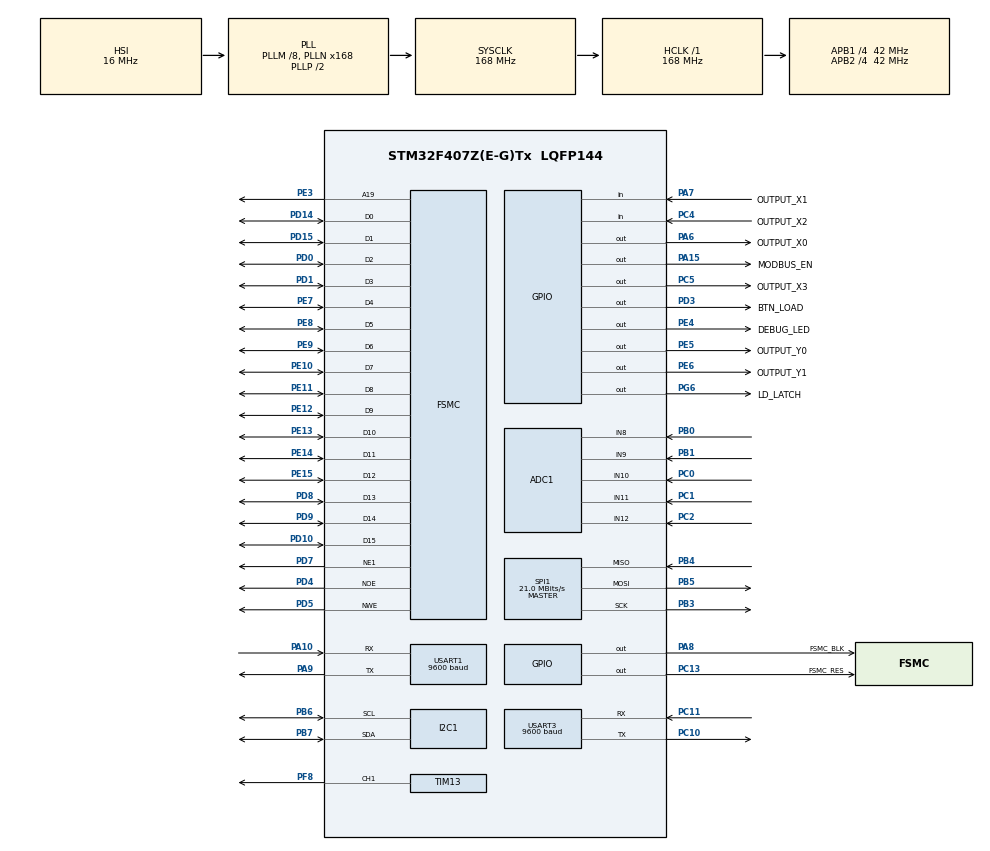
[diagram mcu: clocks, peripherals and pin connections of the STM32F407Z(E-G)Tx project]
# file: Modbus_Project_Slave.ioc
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ADC1.Channel-0\#ChannelRegularConversion=ADC_CHANNEL_8
ADC1.Channel-1\#ChannelRegularConversion=ADC_CHANNEL_9
ADC1.Channel-2\#ChannelRegularConversion=ADC_CHANNEL_10
ADC1.Channel-3\#ChannelRegularConversion=ADC_CHANNEL_11
ADC1.Channel-4\#ChannelRegularConversion=ADC_CHANNEL_12
ADC1.NbrOfConversion=5
ADC1.NbrOfConversionFlag=1
ADC1.Rank-0\#ChannelRegularConversion=1
ADC1.Rank-1\#ChannelRegularConversion=2
ADC1.Rank-2\#ChannelRegularConversion=3
ADC1.Rank-3\#ChannelRegularConversion=4
ADC1.Rank-4\#ChannelRegularConversion=5
ADC1.SamplingTime-0\#ChannelRegularConversion=ADC_SAMPLETIME_3CYCLES
ADC1.SamplingTime-1\#ChannelRegularConversion=ADC_SAMPLETIME_3CYCLES
ADC1.SamplingTime-2\#ChannelRegularConversion=ADC_SAMPLETIME_3CYCLES
ADC1.SamplingTime-3\#ChannelRegularConversion=ADC_SAMPLETIME_3CYCLES
ADC1.SamplingTime-4\#ChannelRegularConversion=ADC_SAMPLETIME_3CYCLES
ADC1.ScanConvMode=ENABLE
ADC1.master=1
Dma.ADC1.0.Direction=DMA_PERIPH_TO_MEMORY
Dma.ADC1.0.FIFOMode=DMA_FIFOMODE_DISABLE
Dma.ADC1.0.Instance=DMA2_Stream0
Dma.ADC1.0.MemDataAlignment=DMA_MDATAALIGN_HALFWORD
Dma.ADC1.0.MemInc=DMA_MINC_ENABLE
Dma.ADC1.0.Mode=DMA_CIRCULAR
Dma.ADC1.0.PeriphDataAlignment=DMA_PDATAALIGN_HALFWORD
Dma.ADC1.0.PeriphInc=DMA_PINC_DISABLE
Dma.ADC1.0.Priority=DMA_PRIORITY_LOW
Dma.Request0=ADC1
FSMC.AddressSetupTime1=0xf
FSMC.BusTurnAroundDuration1=0
FSMC.DataSetupTime1=60
FSMC.ExtendedAddressSetupTime1=8
FSMC.ExtendedBusTurnAroundDuration1=0
FSMC.ExtendedDataSetupTime1=9
FSMC.ExtendedMode1=FSMC_EXTENDED_MODE_ENABLE
Mcu.Family=STM32F4
Mcu.Name=STM32F407Z(E-G)Tx
Mcu.Package=LQFP144
NVIC.DMA2_Stream0_IRQn=true\:0\:0\:false\:false\:true\:false\:true\:true
NVIC.PriorityGroup=NVIC_PRIORITYGROUP_4
NVIC.TIM2_IRQn=true\:0\:0\:false\:false\:true\:true\:true\:true
NVIC.USART1_IRQn=true\:0\:0\:false\:false\:true\:true\:true\:true
NVIC.USART3_IRQn=true\:0\:0\:false\:false\:true\:true\:true\:true
PA10.Mode=Asynchronous
PA10.Signal=USART1_RX
PA13.Mode=Serial_Wire
PA13.Signal=SYS_JTMS-SWDIO
PA14.Mode=Serial_Wire
PA14.Signal=SYS_JTCK-SWCLK
PA15.GPIO_Label=MODBUS_EN
PA15.Signal=GPIO_Output
PA6.GPIO_Label=OUTPUT_X0
PA6.Signal=GPIO_Output
PA7.GPIO_Label=OUTPUT_X1
PA7.Signal=GPIO_Input
PA8.GPIO_Label=FSMC_BLK
PA8.Signal=GPIO_Output
PA9.Mode=Asynchronous
PA9.Signal=USART1_TX
PB0.Signal=ADCx_IN8
PB1.Signal=ADCx_IN9
PB3.Mode=Full_Duplex_Master
PB3.Signal=SPI1_SCK
PB4.Mode=Full_Duplex_Master
PB4.Signal=SPI1_MISO
PB5.Mode=Full_Duplex_Master
PB5.Signal=SPI1_MOSI
PB6.Mode=I2C
PB6.Signal=I2C1_SCL
PB7.Mode=I2C
PB7.Signal=I2C1_SDA
PC0.Signal=ADCx_IN10
PC1.Signal=ADCx_IN11
PC10.Mode=Asynchronous
PC10.Signal=USART3_TX
PC11.Mode=Asynchronous
PC11.Signal=USART3_RX
PC13-ANTI_TAMP.GPIO_Label=FSMC_RES
PC13-ANTI_TAMP.Signal=GPIO_Output
PC2.Signal=ADCx_IN12
PC4.GPIO_Label=OUTPUT_X2
PC4.Signal=GPIO_Input
PC5.GPIO_Label=OUTPUT_X3
PC5.Signal=GPIO_Output
PD0.Signal=FSMC_D2_DA2
PD1.Signal=FSMC_D3_DA3
PD10.Signal=FSMC_D15_DA15
PD14.Signal=FSMC_D0_DA0
PD15.Signal=FSMC_D1_DA1
PD3.GPIO_Label=BTN_LOAD
PD3.Signal=GPIO_Output
PD4.Signal=FSMC_NOE
PD5.Signal=FSMC_NWE
PD7.Mode=NorPsramChipSelect1_1
PD7.Signal=FSMC_NE1
PD8.Signal=FSMC_D13_DA13
PD9.Signal=FSMC_D14_DA14
PE10.Signal=FSMC_D7_DA7
PE11.Signal=FSMC_D8_DA8
PE12.Signal=FSMC_D9_DA9
PE13.Signal=FSMC_D10_DA10
PE14.Signal=FSMC_D11_DA11
PE15.Signal=FSMC_D12_DA12
PE3.Signal=FSMC_A19
PE4.GPIO_Label=DEBUG_LED
PE4.Signal=GPIO_Output
PE5.GPIO_Label=OUTPUT_Y0
PE5.Signal=GPIO_Output
PE6.GPIO_Label=OUTPUT_Y1
PE6.Signal=GPIO_Output
PE7.Signal=FSMC_D4_DA4
PE8.Signal=FSMC_D5_DA5
PE9.Signal=FSMC_D6_DA6
PF8.Signal=S_TIM13_CH1
PG6.GPIO_Label=LD_LATCH
PG6.Signal=GPIO_Output
PH0-OSC_IN.Mode=HSE-External-Oscillator
PH0-OSC_IN.Signal=RCC_OSC_IN
PH1-OSC_OUT.Mode=HSE-External-Oscillator
PH1-OSC_OUT.Signal=RCC_OSC_OUT
ProjectManager.HeapSize=0x200
ProjectManager.StackSize=0x400
ProjectManager.TargetToolchain=STM32CubeIDE
RCC.48MHZClocksFreq_Value=84000000
RCC.AHBFreq_Value=168000000
RCC.APB1CLKDivider=RCC_HCLK_DIV4
RCC.APB1Freq_Value=42000000
RCC.APB1TimFreq_Value=84000000
RCC.APB2CLKDivider=RCC_HCLK_DIV4
RCC.APB2Freq_Value=42000000
RCC.APB2TimFreq_Value=84000000
RCC.CortexFreq_Value=168000000
RCC.HCLKFreq_Value=168000000
RCC.HSE_VALUE=8000000
RCC.HSI_VALUE=16000000
RCC.LSE_VALUE=32768
RCC.PLLM=8
RCC.PLLN=168
RCC.SYSCLKFreq_VALUE=168000000
RCC.SYSCLKSource=RCC_SYSCLKSOURCE_PLLCLK
RCC.VCOOutputFreq_Value=336000000
SH.ADCx_IN10.0=ADC1_IN10,IN10
SH.ADCx_IN11.0=ADC1_IN11,IN11
SH.ADCx_IN12.0=ADC1_IN12,IN12
SH.ADCx_IN8.0=ADC1_IN8,IN8
SH.ADCx_IN9.0=ADC1_IN9,IN9
SH.FSMC_A19.0=FSMC_A19,A19_1
SH.FSMC_D0_DA0.0=FSMC_D0,16b-d1
SH.FSMC_D10_DA10.0=FSMC_D10,16b-d1
SH.FSMC_D11_DA11.0=FSMC_D11,16b-d1
SH.FSMC_D12_DA12.0=FSMC_D12,16b-d1
SH.FSMC_D13_DA13.0=FSMC_D13,16b-d1
SH.FSMC_D14_DA14.0=FSMC_D14,16b-d1
SH.FSMC_D15_DA15.0=FSMC_D15,16b-d1
SH.FSMC_D1_DA1.0=FSMC_D1,16b-d1
SH.FSMC_D2_DA2.0=FSMC_D2,16b-d1
SH.FSMC_D3_DA3.0=FSMC_D3,16b-d1
SH.FSMC_D4_DA4.0=FSMC_D4,16b-d1
SH.FSMC_D5_DA5.0=FSMC_D5,16b-d1
SH.FSMC_D6_DA6.0=FSMC_D6,16b-d1
SH.FSMC_D7_DA7.0=FSMC_D7,16b-d1
SH.FSMC_D8_DA8.0=FSMC_D8,16b-d1
SH.FSMC_D9_DA9.0=FSMC_D9,16b-d1
SH.FSMC_NOE.0=FSMC_NOE,Lcd1
SH.FSMC_NWE.0=FSMC_NWE,Lcd1
SH.S_TIM13_CH1.0=TIM13_CH1,PWM Generation1 CH1
SPI1.BaudRatePrescaler=SPI_BAUDRATEPRESCALER_2
SPI1.CalculateBaudRate=21.0 MBits/s
SPI1.Direction=SPI_DIRECTION_2LINES
SPI1.Mode=SPI_MODE_MASTER
SPI1.VirtualType=VM_MASTER
TIM13.Channel=TIM_CHANNEL_1
TIM13.Period=100-1
TIM13.Prescaler=840-1
TIM2.Period=100-1
TIM2.Prescaler=840-1
TIM4.Period=100-1
TIM4.Prescaler=840-1
USART1.BaudRate=9600
USART1.VirtualMode=VM_ASYNC
USART3.BaudRate=9600
USART3.VirtualMode=VM_ASYNC
VP_TIM13_VS_ClockSourceINT.Mode=Enable_Timer
VP_TIM2_VS_ClockSourceINT.Mode=Internal
VP_TIM4_VS_ClockSourceINT.Mode=Internal
board=custom

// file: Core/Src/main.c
/* USER CODE BEGIN Header */
/**
 ******************************************************************************
 * @file           : main.c
 * @brief          : Main program body
 ******************************************************************************
 * @attention
 *
 * <h2><center>&copy; Copyright (c) 2023 STMicroelectronics.
 * All rights reserved.</center></h2>
 *
 * This software component is licensed by ST under BSD 3-Clause license,
 * the "License"; You may not use this file except in compliance with the
 * License. You may obtain a copy of the License at:
 *                        opensource.org/licenses/BSD-3-Clause
 *
 ******************************************************************************
 */
/* USER CODE END Header */
#include "main.h"
#include "adc.h"
#include "dma.h"
#include "i2c.h"
#include "spi.h"
#include "tim.h"
#include "usart.h"
#include "gpio.h"
#include "fsmc.h"

/* USER CODE BEGIN Includes */
#include "software_timer.h"
#include "led_7seg.h"
#include "button.h"
#include "lcd.h"
#include "picture.h"
#include "ds3231.h"
#include "sensor.h"
#include "buzzer.h"
#include "Modbus_Slave.h"
/* USER CODE END Includes */

/* USER CODE BEGIN PV */
//void HAL_UARTEx_RxEventCallback(UART_HandleTypeDef *huart, uint16_t Size){
//	HAL_GPIO_WritePin(GPIOA,GPIO_PIN_15,SET);
//	HAL_UART_Transmit(&huart3, (void*)buf, 7, 1000);
//	HAL_GPIO_WritePin(GPIOA,GPIO_PIN_15,RESET);
//	HAL_UARTEx_ReceiveToIdle_IT(&huart3, (void*)buf, 10);
//}

/* USER CODE END PV */

void SystemClock_Config(void);
/* USER CODE BEGIN PFP */
void system_init();
void TestBuzzer();
void TestADC();
/* USER CODE END PFP */

/* USER CODE BEGIN 0 */
void HAL_UART_RxCpltCallback(UART_HandleTypeDef *huart){
	RS485_UART_Callback(huart);
}

void HAL_TIM_PeriodElapsedCallback(TIM_HandleTypeDef *htim) {
	if (htim->Instance == TIM2) {

		TimerRun();
	}

}

/* USER CODE END 0 */

int main(void)
{

  /* MCU Configuration--------------------------------------------------------*/

  /* Reset of all peripherals, Initializes the Flash interface and the Systick. */
  HAL_Init();

  /* Configure the system clock */
  SystemClock_Config();

  /* Initialize all configured peripherals */
  MX_GPIO_Init();
  MX_DMA_Init();
  MX_SPI1_Init();
  MX_FSMC_Init();
  MX_I2C1_Init();
  MX_TIM13_Init();
  MX_TIM2_Init();
  MX_ADC1_Init();
  MX_TIM4_Init();
  MX_USART1_UART_Init();
  MX_USART3_UART_Init();
  /* USER CODE BEGIN 2 */
	system_init();
  /* USER CODE END 2 */

  /* Infinite loop */
  /* USER CODE BEGIN WHILE */
	InitSlave(&BKIT01);
	InitTimer();
	lcd_clear(BLACK);
	set_timer(10, 0);
	set_timer(1000, 1);

	while (1) {
//		HAL_Delay(10);
		if(timer_flag[0]){
			slave_behavior(&BKIT01);
			TestADC();
			set_timer(10, 0);
		}
		if(timer_flag[1]){
			HAL_GPIO_TogglePin(DEBUG_LED_GPIO_Port, DEBUG_LED_Pin);
			set_timer(1000, 1);
		}

    /* USER CODE END WHILE */

	}
}

void SystemClock_Config(void)
{
  RCC_OscInitTypeDef RCC_OscInitStruct = {0};
  RCC_ClkInitTypeDef RCC_ClkInitStruct = {0};

  /** Configure the main internal regulator output voltage
  */
  __HAL_RCC_PWR_CLK_ENABLE();
  __HAL_PWR_VOLTAGESCALING_CONFIG(PWR_REGULATOR_VOLTAGE_SCALE1);

  /** Initializes the RCC Oscillators according to the specified parameters
  * in the RCC_OscInitTypeDef structure.
  */
  RCC_OscInitStruct.OscillatorType = RCC_OSCILLATORTYPE_HSI;
  RCC_OscInitStruct.HSIState = RCC_HSI_ON;
  RCC_OscInitStruct.HSICalibrationValue = RCC_HSICALIBRATION_DEFAULT;
  RCC_OscInitStruct.PLL.PLLState = RCC_PLL_ON;
  RCC_OscInitStruct.PLL.PLLSource = RCC_PLLSOURCE_HSI;
  RCC_OscInitStruct.PLL.PLLM = 8;
  RCC_OscInitStruct.PLL.PLLN = 168;
  RCC_OscInitStruct.PLL.PLLP = RCC_PLLP_DIV2;
  RCC_OscInitStruct.PLL.PLLQ = 4;
  if (HAL_RCC_OscConfig(&RCC_OscInitStruct) != HAL_OK)
  {
    Error_Handler();
  }

  /** Initializes the CPU, AHB and APB buses clocks
  */
  RCC_ClkInitStruct.ClockType = RCC_CLOCKTYPE_HCLK|RCC_CLOCKTYPE_SYSCLK
                              |RCC_CLOCKTYPE_PCLK1|RCC_CLOCKTYPE_PCLK2;
  RCC_ClkInitStruct.SYSCLKSource = RCC_SYSCLKSOURCE_PLLCLK;
  RCC_ClkInitStruct.AHBCLKDivider = RCC_SYSCLK_DIV1;
  RCC_ClkInitStruct.APB1CLKDivider = RCC_HCLK_DIV4;
  RCC_ClkInitStruct.APB2CLKDivider = RCC_HCLK_DIV4;

  if (HAL_RCC_ClockConfig(&RCC_ClkInitStruct, FLASH_LATENCY_5) != HAL_OK)
  {
    Error_Handler();
  }
}

/* USER CODE BEGIN 4 */
void system_init() {
	button_init();
	lcd_init();

	sensor_init();
	buzzer_init();

	timer2_init();
}

uint8_t IsButtonUp() {
	if (button_count[3] == 1)
		return 1;
	else
		return 0;
}

uint8_t IsButtonDown() {
	if (button_count[7] == 1)
		return 1;
	else
		return 0;
}

uint8_t isButtonRight() {
	if (button_count[11] == 1)
		return 1;
	else
		return 0;
}

uint8_t count_adc = 0;
void TestADC() {
	count_adc = (count_adc + 1) % 20;
	if (count_adc == 0) {
		sensor_read();
		lcd_show_string(10, 100, "Voltage:", RED, BLACK, 16, 0);
		lcd_show_float_num(130, 100, sensor_get_voltage(), 4, RED, BLACK, 16);
		lcd_show_string(10, 120, "Current:", RED, BLACK, 16, 0);
		lcd_show_float_num(130, 120, sensor_get_current(), 4, RED, BLACK, 16);
		lcd_show_string(10, 140, "Light:", RED, BLACK, 16, 0);
		lcd_show_int_num(130, 140, sensor_get_light(), 4, RED, BLACK, 16);
		lcd_show_string(10, 160, "Potentiometer:", RED, BLACK, 16, 0);
		lcd_show_int_num(130, 160, sensor_get_potentiometer(), 4, RED, BLACK,
				16);
		lcd_show_string(10, 180, "Temperature:", RED, BLACK, 16, 0);
		lcd_show_float_num(130, 180, sensor_get_temperature(), 4, RED, BLACK,
				16);
	}
}

void TestBuzzer() {
	if (IsButtonUp()) {
		buzzer_set_volume(50);
	}

	if (IsButtonDown()) {
		buzzer_set_volume(0);
	}

	if (isButtonRight()) {
		buzzer_set_volume(25);
	}
}
/* USER CODE END 4 */

void Error_Handler(void)
{
	__disable_irq();
	while (1) {
	}
}
